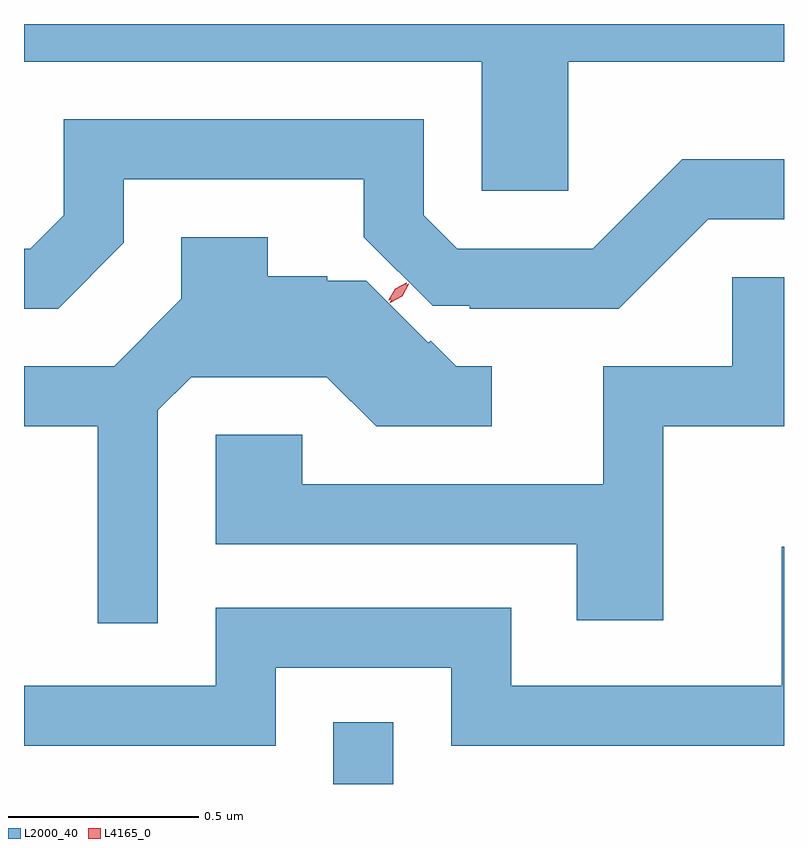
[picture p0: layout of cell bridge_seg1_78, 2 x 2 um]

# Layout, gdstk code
import gdstk
lib = gdstk.Library(unit=1e-6, precision=1e-09)
def R(c, l, rs):  # rectangles x0, y0, x1, y1
    for r in rs: c.add(gdstk.rectangle(r[:2], r[2:], *l))
def P(c, l, *ps):  # polygons
    for p in ps: c.add(gdstk.Polygon(p, *l))
L2000_40 = (2000, 40)
L4165_0 = (4165, 0)

bridge_seg1_78 = lib.new_cell('bridge_seg1_78')
R(bridge_seg1_78, L2000_40, [(1807.211,895.455,1807.369,895.618)])
P(bridge_seg1_78, L2000_40, [(1807.829,897.356),(1808.397,897.356),(1808.397,897.455),(1806.397,897.455),(1806.397,897.356),(1807.601,897.356),(1807.601,897.016),(1807.829,897.016)],
  [(1806.659,896.879),(1806.659,897.046),(1807.291,897.046),(1807.291,896.894),(1807.472,896.713),(1807.57,896.713),(1807.57,896.706),(1807.962,896.706),(1808.197,896.941),(1808.397,896.941),(1808.397,897.099),(1808.129,897.099),(1807.894,896.864),(1807.537,896.864),(1807.449,896.952),(1807.449,897.204),(1806.501,897.204),(1806.501,896.952),(1806.414,896.864),(1806.397,896.864),(1806.397,896.706),(1806.487,896.706)],
  [(1806.749,896.439),(1806.837,896.526),(1807.194,896.526),(1807.324,896.396),(1807.628,896.396),(1807.628,896.554),(1807.534,896.554),(1807.467,896.621),(1807.461,896.616),(1807.297,896.78),(1807.195,896.78),(1807.195,896.791),(1807.039,896.791),(1807.039,896.894),(1806.811,896.894),(1806.811,896.732),(1806.634,896.554),(1806.397,896.554),(1806.397,896.396),(1806.591,896.396),(1806.591,895.878),(1806.749,895.878)],
  [(1808.079,896.396),(1808.397,896.396),(1808.397,896.789),(1808.261,896.789),(1808.261,896.554),(1807.921,896.554),(1807.921,896.244),(1807.129,896.244),(1807.129,896.374),(1806.901,896.374),(1806.901,896.086),(1807.851,896.086),(1807.851,895.886),(1808.079,895.886)],
  [(1807.059,895.761),(1807.521,895.761),(1807.521,895.556),(1808.397,895.556),(1808.397,896.079),(1808.391,896.079),(1808.391,895.714),(1807.679,895.714),(1807.679,895.919),(1806.901,895.919),(1806.901,895.714),(1806.397,895.714),(1806.397,895.556),(1807.059,895.556)])
P(bridge_seg1_78, L4165_0, [(1807.36,896.722),(1807.36,896.722),(1807.378,896.753),(1807.409,896.771),(1807.41,896.771),(1807.41,896.77),(1807.392,896.739),(1807.361,896.722)],
  [(1807.357,896.728),(1807.357,896.729),(1807.374,896.758),(1807.403,896.774),(1807.404,896.774),(1807.404,896.773),(1807.387,896.744),(1807.358,896.728)])

lib.write_gds('bridge_seg1_78.gds')
